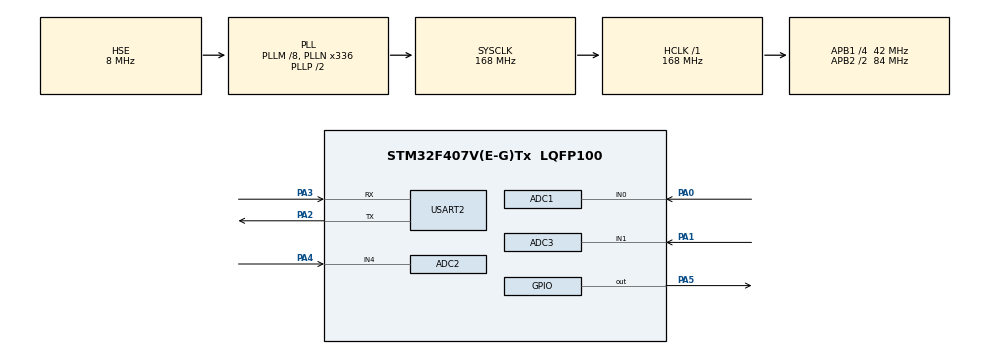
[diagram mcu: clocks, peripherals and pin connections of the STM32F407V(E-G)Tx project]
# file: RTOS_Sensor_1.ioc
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ADC1.Channel-1\#ChannelRegularConversion=ADC_CHANNEL_0
ADC1.NbrOfConversionFlag=1
ADC1.Rank-1\#ChannelRegularConversion=1
ADC1.SamplingTime-1\#ChannelRegularConversion=ADC_SAMPLETIME_3CYCLES
ADC1.master=1
ADC2.Channel-1\#ChannelRegularConversion=ADC_CHANNEL_4
ADC2.NbrOfConversionFlag=1
ADC2.Rank-1\#ChannelRegularConversion=1
ADC2.SamplingTime-1\#ChannelRegularConversion=ADC_SAMPLETIME_3CYCLES
ADC3.Channel-1\#ChannelRegularConversion=ADC_CHANNEL_1
ADC3.NbrOfConversionFlag=1
ADC3.Rank-1\#ChannelRegularConversion=1
ADC3.SamplingTime-1\#ChannelRegularConversion=ADC_SAMPLETIME_3CYCLES
FREERTOS.INCLUDE_vTaskDelayUntil=1
FREERTOS.Tasks01=defaultTask,0,128,StartDefaultTask,Default,NULL,Dynamic,NULL,NULL;myTask02,-3,128,StartTask02,Default,NULL,Dynamic,NULL,NULL
FREERTOS.configUSE_NEWLIB_REENTRANT=1
Mcu.Family=STM32F4
Mcu.Name=STM32F407V(E-G)Tx
Mcu.Package=LQFP100
NVIC.PriorityGroup=NVIC_PRIORITYGROUP_4
NVIC.TIM1_UP_TIM10_IRQn=true\:15\:0\:false\:false\:true\:false\:false\:true\:true
NVIC.TimeBase=TIM1_UP_TIM10_IRQn
NVIC.TimeBaseIP=TIM1
PA0-WKUP.Signal=ADCx_IN0
PA1.Signal=ADCx_IN1
PA2.Mode=Asynchronous
PA2.Signal=USART2_TX
PA3.Mode=Asynchronous
PA3.Signal=USART2_RX
PA4.Signal=ADCx_IN4
PA5.Signal=GPIO_Output
PH0-OSC_IN.Mode=HSE-External-Oscillator
PH0-OSC_IN.Signal=RCC_OSC_IN
PH1-OSC_OUT.Mode=HSE-External-Oscillator
PH1-OSC_OUT.Signal=RCC_OSC_OUT
ProjectManager.HeapSize=0x200
ProjectManager.StackSize=0x400
ProjectManager.TargetToolchain=STM32CubeIDE
RCC.48MHZClocksFreq_Value=48000000
RCC.AHBFreq_Value=168000000
RCC.APB1CLKDivider=RCC_HCLK_DIV4
RCC.APB1Freq_Value=42000000
RCC.APB1TimFreq_Value=84000000
RCC.APB2CLKDivider=RCC_HCLK_DIV2
RCC.APB2Freq_Value=84000000
RCC.APB2TimFreq_Value=168000000
RCC.CortexFreq_Value=168000000
RCC.HCLKFreq_Value=168000000
RCC.HSE_VALUE=8000000
RCC.HSI_VALUE=16000000
RCC.LSE_VALUE=32768
RCC.PLLM=8
RCC.PLLN=336
RCC.PLLQ=7
RCC.PLLSourceVirtual=RCC_PLLSOURCE_HSE
RCC.SYSCLKFreq_VALUE=168000000
RCC.SYSCLKSource=RCC_SYSCLKSOURCE_PLLCLK
RCC.VCOOutputFreq_Value=336000000
SH.ADCx_IN0.0=ADC1_IN0,IN0
SH.ADCx_IN1.0=ADC3_IN1,IN1
SH.ADCx_IN4.0=ADC2_IN4,IN4
USART2.VirtualMode=VM_ASYNC
VP_FREERTOS_VS_CMSIS_V1.Mode=CMSIS_V1
VP_SYS_VS_tim1.Mode=TIM1
board=STM32F407G-DISC1

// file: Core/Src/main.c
/* USER CODE BEGIN Header */
/**
  ******************************************************************************
  * @file           : main.c
  * @brief          : Main program body
  ******************************************************************************
  * @attention
  *
  * Copyright (c) 2024 STMicroelectronics.
  * All rights reserved.
  *
  * This software is licensed under terms that can be found in the LICENSE file
  * in the root directory of this software component.
  * If no LICENSE file comes with this software, it is provided AS-IS.
  *
  ******************************************************************************
  */
/* USER CODE END Header */
#include "main.h"
#include "cmsis_os.h"

#include "dht22.h"
#include <stdio.h>
#include <string.h>

ADC_HandleTypeDef hadc1;
ADC_HandleTypeDef hadc2;
ADC_HandleTypeDef hadc3;

UART_HandleTypeDef huart2;

osThreadId defaultTaskHandle;
osThreadId myTask02Handle;

void SystemClock_Config(void);
static void MX_GPIO_Init(void);
static void MX_ADC1_Init(void);
static void MX_USART2_UART_Init(void);
static void MX_ADC2_Init(void);
static void MX_ADC3_Init(void);
void StartDefaultTask(void const * argument);
void StartTask02(void const * argument);

/* USER CODE BEGIN 0 */

void vBusyWaitTask(int count)
{
	int i = 0;
	for( ; i < count ; i++)
		__NOP();
}

struct sensor_data
{
	float temp_data;
	float humid_data;
	int mq_data;
	int ir_data;
	int sound_data;
}sensor_data1;

DHT_DataTypedef DHT22_Data;
int count;
float fahrenheit_to_Celsius(float fahrenheit)
{
  return ((fahrenheit - 32.0) * 5.0 / 9.0);
}

void vMQ_5_Task(void *pvParam)
{
	while(1)
	{
		 HAL_ADC_Start(&hadc1);
		 HAL_ADC_PollForConversion(&hadc1, HAL_MAX_DELAY);
		 sensor_data1.mq_data = HAL_ADC_GetValue(&hadc1);
		 portENTER_CRITICAL();
		 HAL_UART_Transmit(&huart2,(uint8_t*)&sensor_data1, sizeof(sensor_data1), HAL_MAX_DELAY );
		 portEXIT_CRITICAL();
		 HAL_ADC_Stop(&hadc1);
		 HAL_Delay(1000);
	}
	vTaskDelete(NULL);
}

void vDHT_22_Task(void *pvParam)
{
	 while (1)
	  {
	    /* USER CODE END WHILE */
		  portENTER_CRITICAL();
	  	  DHT_GetData(&DHT22_Data);
 		  sensor_data1.temp_data = DHT22_Data.Temperature/10;
		  sensor_data1.humid_data = DHT22_Data.Humidity/10;
	      HAL_UART_Transmit(&huart2, (uint8_t*)&sensor_data1, count, HAL_MAX_DELAY);
 		  portEXIT_CRITICAL();
 		  HAL_Delay(2000);

	    /* USER CODE BEGIN 3 */
	  }
	vTaskDelete(NULL);
}

void vIR_Task(void *pvParam)
{
	while(1)
	{
		 HAL_ADC_Start(&hadc3);
		 HAL_ADC_PollForConversion(&hadc3, HAL_MAX_DELAY);
		 sensor_data1.ir_data = HAL_ADC_GetValue(&hadc3);
		 portENTER_CRITICAL();
		 HAL_UART_Transmit(&huart2,(uint8_t*)&sensor_data1, count, HAL_MAX_DELAY );
		 portEXIT_CRITICAL();
		 HAL_ADC_Stop(&hadc3);
		 HAL_Delay(2000);
	}
	vTaskDelete(NULL);
}

void vSound_Task(void *pvParam)
{
	while(1)
	{
		 HAL_ADC_Start(&hadc2);
		 HAL_ADC_PollForConversion(&hadc2, HAL_MAX_DELAY);
		 sensor_data1.sound_data = HAL_ADC_GetValue(&hadc2);
		 portENTER_CRITICAL();
		 HAL_UART_Transmit(&huart2,(uint8_t*)&sensor_data1, count, HAL_MAX_DELAY );
		 portEXIT_CRITICAL();
		 HAL_ADC_Stop(&hadc2);
		 HAL_Delay(2000);
	}
	vTaskDelete(NULL);
}

/* USER CODE END 0 */

int main(void)
{

  /* MCU Configuration--------------------------------------------------------*/

  /* Reset of all peripherals, Initializes the Flash interface and the Systick. */
  HAL_Init();

  /* Configure the system clock */
  SystemClock_Config();

  /* Initialize all configured peripherals */
  MX_GPIO_Init();
  MX_ADC1_Init();
  MX_USART2_UART_Init();
  MX_ADC2_Init();
  MX_ADC3_Init();

  /* Create the thread(s) */
  /* definition and creation of defaultTask */
  osThreadDef(defaultTask, StartDefaultTask, osPriorityNormal, 0, 128);
  defaultTaskHandle = osThreadCreate(osThread(defaultTask), NULL);

  /* definition and creation of myTask02 */
  osThreadDef(myTask02, StartTask02, osPriorityIdle, 0, 128);
  myTask02Handle = osThreadCreate(osThread(myTask02), NULL);

  /* USER CODE BEGIN RTOS_THREADS */
  xTaskCreate(vMQ_5_Task, "Task1", 128, NULL, 4, NULL);
  xTaskCreate(vIR_Task, "Task2", 128, NULL, 4, NULL);
  xTaskCreate(vSound_Task, "Task3", 128, NULL, 4, NULL);
  xTaskCreate(vDHT_22_Task, "Task4", 128, NULL, 4, NULL);

  /* USER CODE END RTOS_THREADS */

  /* Start scheduler */
  osKernelStart();

  /* We should never get here as control is now taken by the scheduler */
  /* Infinite loop */
  while (1)
  {

  }
}

void SystemClock_Config(void)
{
  RCC_OscInitTypeDef RCC_OscInitStruct = {0};
  RCC_ClkInitTypeDef RCC_ClkInitStruct = {0};

  /** Configure the main internal regulator output voltage
  */
  __HAL_RCC_PWR_CLK_ENABLE();
  __HAL_PWR_VOLTAGESCALING_CONFIG(PWR_REGULATOR_VOLTAGE_SCALE1);

  /** Initializes the RCC Oscillators according to the specified parameters
  * in the RCC_OscInitTypeDef structure.
  */
  RCC_OscInitStruct.OscillatorType = RCC_OSCILLATORTYPE_HSE;
  RCC_OscInitStruct.HSEState = RCC_HSE_ON;
  RCC_OscInitStruct.PLL.PLLState = RCC_PLL_ON;
  RCC_OscInitStruct.PLL.PLLSource = RCC_PLLSOURCE_HSE;
  RCC_OscInitStruct.PLL.PLLM = 8;
  RCC_OscInitStruct.PLL.PLLN = 336;
  RCC_OscInitStruct.PLL.PLLP = RCC_PLLP_DIV2;
  RCC_OscInitStruct.PLL.PLLQ = 7;
  if (HAL_RCC_OscConfig(&RCC_OscInitStruct) != HAL_OK)
  {
    Error_Handler();
  }

  /** Initializes the CPU, AHB and APB buses clocks
  */
  RCC_ClkInitStruct.ClockType = RCC_CLOCKTYPE_HCLK|RCC_CLOCKTYPE_SYSCLK
                              |RCC_CLOCKTYPE_PCLK1|RCC_CLOCKTYPE_PCLK2;
  RCC_ClkInitStruct.SYSCLKSource = RCC_SYSCLKSOURCE_PLLCLK;
  RCC_ClkInitStruct.AHBCLKDivider = RCC_SYSCLK_DIV1;
  RCC_ClkInitStruct.APB1CLKDivider = RCC_HCLK_DIV4;
  RCC_ClkInitStruct.APB2CLKDivider = RCC_HCLK_DIV2;

  if (HAL_RCC_ClockConfig(&RCC_ClkInitStruct, FLASH_LATENCY_5) != HAL_OK)
  {
    Error_Handler();
  }
}

static void MX_ADC1_Init(void)
{

  ADC_ChannelConfTypeDef sConfig = {0};

  /** Configure the global features of the ADC (Clock, Resolution, Data Alignment and number of conversion)
  */
  hadc1.Instance = ADC1;
  hadc1.Init.ClockPrescaler = ADC_CLOCK_SYNC_PCLK_DIV4;
  hadc1.Init.Resolution = ADC_RESOLUTION_12B;
  hadc1.Init.ScanConvMode = DISABLE;
  hadc1.Init.ContinuousConvMode = DISABLE;
  hadc1.Init.DiscontinuousConvMode = DISABLE;
  hadc1.Init.ExternalTrigConvEdge = ADC_EXTERNALTRIGCONVEDGE_NONE;
  hadc1.Init.ExternalTrigConv = ADC_SOFTWARE_START;
  hadc1.Init.DataAlign = ADC_DATAALIGN_RIGHT;
  hadc1.Init.NbrOfConversion = 1;
  hadc1.Init.DMAContinuousRequests = DISABLE;
  hadc1.Init.EOCSelection = ADC_EOC_SINGLE_CONV;
  if (HAL_ADC_Init(&hadc1) != HAL_OK)
  {
    Error_Handler();
  }

  /** Configure for the selected ADC regular channel its corresponding rank in the sequencer and its sample time.
  */
  sConfig.Channel = ADC_CHANNEL_0;
  sConfig.Rank = 1;
  sConfig.SamplingTime = ADC_SAMPLETIME_3CYCLES;
  if (HAL_ADC_ConfigChannel(&hadc1, &sConfig) != HAL_OK)
  {
    Error_Handler();
  }

}

static void MX_ADC2_Init(void)
{

  ADC_ChannelConfTypeDef sConfig = {0};

  /** Configure the global features of the ADC (Clock, Resolution, Data Alignment and number of conversion)
  */
  hadc2.Instance = ADC2;
  hadc2.Init.ClockPrescaler = ADC_CLOCK_SYNC_PCLK_DIV4;
  hadc2.Init.Resolution = ADC_RESOLUTION_12B;
  hadc2.Init.ScanConvMode = DISABLE;
  hadc2.Init.ContinuousConvMode = DISABLE;
  hadc2.Init.DiscontinuousConvMode = DISABLE;
  hadc2.Init.ExternalTrigConvEdge = ADC_EXTERNALTRIGCONVEDGE_NONE;
  hadc2.Init.ExternalTrigConv = ADC_SOFTWARE_START;
  hadc2.Init.DataAlign = ADC_DATAALIGN_RIGHT;
  hadc2.Init.NbrOfConversion = 1;
  hadc2.Init.DMAContinuousRequests = DISABLE;
  hadc2.Init.EOCSelection = ADC_EOC_SINGLE_CONV;
  if (HAL_ADC_Init(&hadc2) != HAL_OK)
  {
    Error_Handler();
  }

  /** Configure for the selected ADC regular channel its corresponding rank in the sequencer and its sample time.
  */
  sConfig.Channel = ADC_CHANNEL_4;
  sConfig.Rank = 1;
  sConfig.SamplingTime = ADC_SAMPLETIME_3CYCLES;
  if (HAL_ADC_ConfigChannel(&hadc2, &sConfig) != HAL_OK)
  {
    Error_Handler();
  }

}

static void MX_ADC3_Init(void)
{

  ADC_ChannelConfTypeDef sConfig = {0};

  /** Configure the global features of the ADC (Clock, Resolution, Data Alignment and number of conversion)
  */
  hadc3.Instance = ADC3;
  hadc3.Init.ClockPrescaler = ADC_CLOCK_SYNC_PCLK_DIV4;
  hadc3.Init.Resolution = ADC_RESOLUTION_12B;
  hadc3.Init.ScanConvMode = DISABLE;
  hadc3.Init.ContinuousConvMode = DISABLE;
  hadc3.Init.DiscontinuousConvMode = DISABLE;
  hadc3.Init.ExternalTrigConvEdge = ADC_EXTERNALTRIGCONVEDGE_NONE;
  hadc3.Init.ExternalTrigConv = ADC_SOFTWARE_START;
  hadc3.Init.DataAlign = ADC_DATAALIGN_RIGHT;
  hadc3.Init.NbrOfConversion = 1;
  hadc3.Init.DMAContinuousRequests = DISABLE;
  hadc3.Init.EOCSelection = ADC_EOC_SINGLE_CONV;
  if (HAL_ADC_Init(&hadc3) != HAL_OK)
  {
    Error_Handler();
  }

  /** Configure for the selected ADC regular channel its corresponding rank in the sequencer and its sample time.
  */
  sConfig.Channel = ADC_CHANNEL_1;
  sConfig.Rank = 1;
  sConfig.SamplingTime = ADC_SAMPLETIME_3CYCLES;
  if (HAL_ADC_ConfigChannel(&hadc3, &sConfig) != HAL_OK)
  {
    Error_Handler();
  }

}

static void MX_USART2_UART_Init(void)
{

  huart2.Instance = USART2;
  huart2.Init.BaudRate = 115200;
  huart2.Init.WordLength = UART_WORDLENGTH_8B;
  huart2.Init.StopBits = UART_STOPBITS_1;
  huart2.Init.Parity = UART_PARITY_NONE;
  huart2.Init.Mode = UART_MODE_TX_RX;
  huart2.Init.HwFlowCtl = UART_HWCONTROL_NONE;
  huart2.Init.OverSampling = UART_OVERSAMPLING_16;
  if (HAL_UART_Init(&huart2) != HAL_OK)
  {
    Error_Handler();
  }

}

static void MX_GPIO_Init(void)
{
  GPIO_InitTypeDef GPIO_InitStruct = {0};

  /* GPIO Ports Clock Enable */
  __HAL_RCC_GPIOH_CLK_ENABLE();
  __HAL_RCC_GPIOA_CLK_ENABLE();

  /*Configure GPIO pin Output Level */
  HAL_GPIO_WritePin(GPIOA, GPIO_PIN_5, GPIO_PIN_RESET);

  /*Configure GPIO pin : PA5 */
  GPIO_InitStruct.Pin = GPIO_PIN_5;
  GPIO_InitStruct.Mode = GPIO_MODE_OUTPUT_PP;
  GPIO_InitStruct.Pull = GPIO_NOPULL;
  GPIO_InitStruct.Speed = GPIO_SPEED_FREQ_LOW;
  HAL_GPIO_Init(GPIOA, &GPIO_InitStruct);

}

void StartDefaultTask(void const * argument)
{
  for(;;)
  {
    osDelay(1);
  }
}

void StartTask02(void const * argument)
{
  for(;;)
  {
    osDelay(1);
  }
}

void HAL_TIM_PeriodElapsedCallback(TIM_HandleTypeDef *htim)
{
  if (htim->Instance == TIM1) {
    HAL_IncTick();
  }
}

void Error_Handler(void)
{
  __disable_irq();
  while (1)
  {
  }
}
